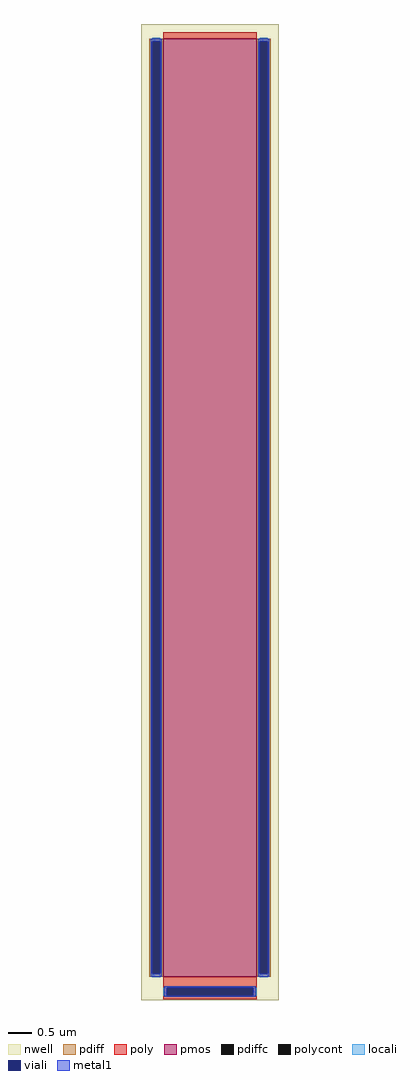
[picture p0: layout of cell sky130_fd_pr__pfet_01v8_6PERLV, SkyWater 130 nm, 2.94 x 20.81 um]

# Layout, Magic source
magic
tech sky130A
magscale 1 2
<< nwell >>
rect -294 -2064 294 2098
<< pmos >>
rect -200 -1964 200 2036
<< pdiff >>
rect -258 2024 -200 2036
rect -258 -1952 -246 2024
rect -212 -1952 -200 2024
rect -258 -1964 -200 -1952
rect 200 2024 258 2036
rect 200 -1952 212 2024
rect 246 -1952 258 2024
rect 200 -1964 258 -1952
<< pdiffc >>
rect -246 -1952 -212 2024
rect 212 -1952 246 2024
<< poly >>
rect -200 2036 200 2062
rect -200 -2011 200 -1964
rect -200 -2045 -184 -2011
rect 184 -2045 200 -2011
rect -200 -2061 200 -2045
<< polycont >>
rect -184 -2045 184 -2011
<< locali >>
rect -246 2024 -212 2040
rect -246 -1968 -212 -1952
rect 212 2024 246 2040
rect 212 -1968 246 -1952
rect -200 -2045 -184 -2011
rect 184 -2045 200 -2011
<< viali >>
rect -246 -1952 -212 2024
rect 212 -1952 246 2024
rect -184 -2045 184 -2011
<< metal1 >>
rect -252 2024 -206 2036
rect -252 -1952 -246 2024
rect -212 -1952 -206 2024
rect -252 -1964 -206 -1952
rect 206 2024 252 2036
rect 206 -1952 212 2024
rect 246 -1952 252 2024
rect 206 -1964 252 -1952
rect -196 -2011 196 -2005
rect -196 -2045 -184 -2011
rect 184 -2045 196 -2011
rect -196 -2051 196 -2045
<< properties >>
string gencell sky130_fd_pr__pfet_01v8
string library sky130
string parameters w 20 l 2 m 1 nf 1 diffcov 100 polycov 100 guard 0 glc 1 grc 1 gtc 1 gbc 1 tbcov 100 rlcov 100 topc 0 botc 1 poverlap 0 doverlap 1 lmin 0.15 wmin 0.42 compatible {sky130_fd_pr__pfet_01v8  sky130_fd_pr__pfet_01v8_lvt sky130_fd_pr__pfet_01v8_hvt  sky130_fd_pr__pfet_g5v0d10v5} full_metal 1 viasrc 100 viadrn 100 viagate 100 viagb 0 viagr 0 viagl 0 viagt 0
<< end >>
